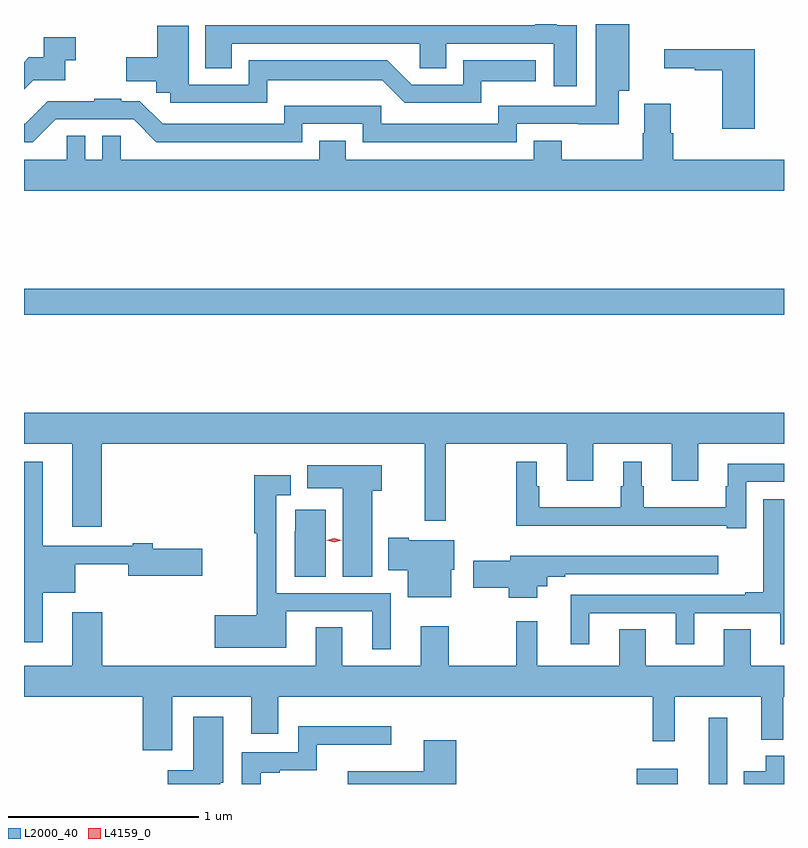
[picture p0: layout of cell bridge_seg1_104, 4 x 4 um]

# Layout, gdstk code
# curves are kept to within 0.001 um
import gdstk
lib = gdstk.Library(unit=1e-6, precision=1e-09)
def R(c, l, rs):  # rectangles x0, y0, x1, y1
    for r in rs: c.add(gdstk.rectangle(r[:2], r[2:], *l))
def P(c, l, *ps):  # polygons
    for p in ps: c.add(gdstk.Polygon(p, *l))
L2000_40 = (2000, 40)
L4159_0 = (4159, 0)

bridge_seg1_104 = lib.new_cell('bridge_seg1_104')
R(bridge_seg1_104, L2000_40, [(306.104,568.59,306.319,568.669), (306.482,568.59,306.579,568.939), (302.879,571.06,306.879,571.196)])
P(bridge_seg1_104, L2000_40, [(303.045,572.088),(303.456,572.088),(303.576,571.968),(304.344,571.968),(304.344,572.064),(304.662,572.064),(304.662,571.968),(305.472,571.968),(305.472,572.064),(306.01,572.063),(306.01,572.24),(306.064,572.24),(306.064,572.59),(305.888,572.59),(305.888,572.16),(305.376,572.16),(305.376,572.064),(304.758,572.064),(304.758,572.161),(304.248,572.161),(304.248,572.064),(303.609,572.064),(303.489,572.184),(303.392,572.184),(303.392,572.197),(303.248,572.197),(303.248,572.184),(303.005,572.184),(302.885,572.064),(302.879,572.064),(302.879,571.968),(302.925,571.968)],
  [(305.788,572.583),(305.684,572.583),(305.684,572.588),(305.57,572.588),(305.57,572.583),(303.833,572.583),(303.833,572.356),(303.973,572.356),(303.973,572.487),(304.962,572.487),(304.962,572.356),(305.101,572.356),(305.101,572.487),(305.666,572.487),(305.666,572.262),(305.788,572.262)],
  [(304.158,572.294),(304.764,572.295),(304.884,572.175),(305.286,572.175),(305.286,572.288),(305.572,572.288),(305.572,572.398),(305.19,572.398),(305.19,572.271),(304.919,572.271),(304.792,572.398),(304.062,572.398),(304.062,572.271),(303.745,572.271),(303.745,572.581),(303.58,572.581),(303.58,572.416),(303.417,572.416),(303.417,572.288),(303.576,572.288),(303.576,572.229),(303.648,572.229),(303.648,572.175),(304.158,572.175)],
  [(302.928,572.295),(303.095,572.295),(303.095,572.399),(303.151,572.399),(303.151,572.521),(302.982,572.521),(302.982,572.416),(302.905,572.416),(302.879,572.39),(302.879,572.246)],
  [(306.725,572.456),(306.249,572.456),(306.249,572.357),(306.41,572.357),(306.41,572.346),(306.554,572.346),(306.554,572.04),(306.725,572.04)],
  [(306.879,571.876),(306.296,571.876),(306.296,572.015),(306.283,572.015),(306.283,572.17),(306.143,572.17),(306.143,572.015),(306.136,572.015),(306.136,571.876),(305.709,571.876),(305.709,571.975),(305.561,571.975),(305.561,571.876),(304.573,571.876),(304.573,571.975),(304.433,571.975),(304.433,571.876),(303.387,571.876),(303.387,572.003),(303.291,572.003),(303.291,571.876),(303.201,571.876),(303.201,572.003),(303.105,572.003),(303.105,571.876),(302.879,571.876),(302.879,571.712),(306.879,571.712)],
  [(303.287,570.38),(304.987,570.38),(304.987,569.976),(305.098,569.976),(305.098,570.38),(305.735,570.38),(305.735,570.186),(305.875,570.186),(305.875,570.38),(306.287,570.38),(306.287,570.186),(306.427,570.186),(306.427,570.38),(306.879,570.38),(306.879,570.544),(302.879,570.544),(302.879,570.38),(303.134,570.38),(303.134,569.943),(303.287,569.943)],
  [(302.977,569.597),(303.148,569.597),(303.148,569.746),(303.428,569.746),(303.428,569.686),(303.817,569.686),(303.817,569.828),(303.556,569.828),(303.556,569.857),(303.452,569.857),(303.452,569.844),(302.977,569.844),(302.977,570.286),(302.88,570.286),(302.88,569.337),(302.977,569.337)],
  [(306.681,570.18),(306.879,570.18),(306.879,570.276),(306.584,570.276),(306.584,570.158),(306.573,570.158),(306.573,570.046),(306.142,570.046),(306.142,570.158),(306.13,570.158),(306.13,570.286),(306.032,570.286),(306.032,570.158),(306.021,570.158),(306.021,570.046),(305.59,570.046),(305.59,570.158),(305.578,570.158),(305.578,570.286),(305.469,570.286),(305.469,569.948),(306.578,569.948),(306.578,569.937),(306.681,569.937)],
  [(304.711,570.134),(304.762,570.134),(304.762,570.268),(304.369,570.268),(304.369,570.146),(304.556,570.146),(304.556,569.68),(304.711,569.68)],
  [(304.81,569.595),(304.206,569.595),(304.206,570.111),(304.284,570.111),(304.284,570.214),(304.09,570.214),(304.09,569.91),(304.105,569.91),(304.105,569.477),(303.882,569.477),(303.882,569.306),(304.258,569.306),(304.258,569.499),(304.712,569.499),(304.712,569.298),(304.81,569.298)],
  [(305.854,569.49),(306.308,569.49),(306.308,569.325),(306.406,569.325),(306.406,569.49),(306.86,569.49),(306.86,569.325),(306.879,569.325),(306.879,570.09),(306.77,570.09),(306.77,569.599),(306.674,569.599),(306.674,569.586),(305.756,569.586),(305.756,569.325),(305.854,569.325)],
  [(304.468,570.034),(304.306,570.034),(304.306,569.921),(304.304,569.921),(304.304,569.68),(304.468,569.68)],
  [(305.128,569.718),(305.143,569.718),(305.143,569.872),(304.903,569.872),(304.903,569.885),(304.796,569.885),(304.796,569.714),(304.898,569.714),(304.898,569.573),(305.128,569.573)],
  [(305.581,569.63),(305.632,569.63),(305.632,569.682),(305.728,569.682),(305.728,569.694),(306.532,569.694),(306.532,569.791),(305.438,569.791),(305.438,569.765),(305.244,569.765),(305.244,569.623),(305.431,569.623),(305.431,569.57),(305.581,569.57)],
  [(303.658,569.048),(304.076,569.048),(304.076,568.854),(304.216,568.854),(304.216,569.048),(306.187,569.048),(306.187,568.815),(306.305,568.815),(306.305,569.048),(306.758,569.048),(306.758,568.823),(306.875,568.823),(306.875,569.048),(306.879,569.048),(306.879,569.212),(306.703,569.212),(306.703,569.405),(306.563,569.405),(306.563,569.212),(306.151,569.212),(306.151,569.405),(306.011,569.405),(306.011,569.212),(305.579,569.212),(305.579,569.446),(305.469,569.446),(305.469,569.212),(305.115,569.212),(305.115,569.419),(304.967,569.419),(304.967,569.212),(304.555,569.212),(304.555,569.414),(304.415,569.414),(304.415,569.212),(303.29,569.212),(303.29,569.494),(303.134,569.494),(303.134,569.212),(302.879,569.212),(302.879,569.048),(303.503,569.048),(303.503,568.767),(303.658,568.767)],
  [(303.912,568.596),(303.928,568.596),(303.928,568.945),(303.77,568.945),(303.77,568.663),(303.636,568.663),(303.636,568.59),(303.912,568.59)],
  [(304.124,568.65),(304.226,568.65),(304.226,568.662),(304.42,568.662),(304.42,568.796),(304.813,568.796),(304.813,568.894),(304.323,568.894),(304.323,568.758),(304.026,568.758),(304.026,568.59),(304.124,568.59)],
  [(305.153,568.819),(304.982,568.819),(304.982,568.657),(304.583,568.657),(304.583,568.59),(305.153,568.59)],
  [(306.879,568.738),(306.782,568.738),(306.782,568.657),(306.668,568.657),(306.668,568.59),(306.879,568.59)])
P(bridge_seg1_104, L4159_0, [(304.512,569.863),(304.472,569.872),(304.471,569.873),(304.472,569.873),(304.512,569.883),(304.552,569.873),(304.552,569.873),(304.552,569.872)])

lib.write_gds('bridge_seg1_104.gds')
